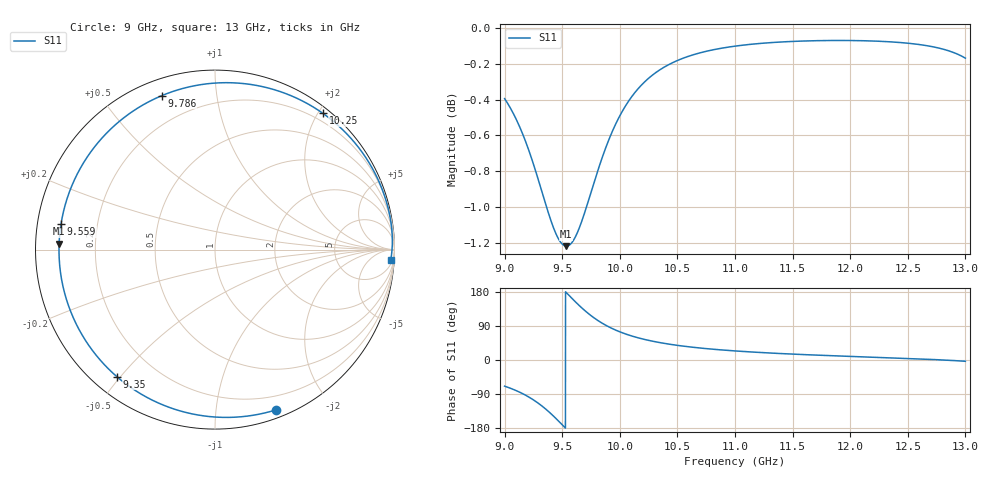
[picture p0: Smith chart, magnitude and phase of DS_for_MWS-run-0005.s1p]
! TOUCHSTONE file generated by CST DESIGN STUDIO
! Date and time: Wed Feb  5 13:45:11 2025
! Project name: C:\Work\MatlabApps\UnitCellOptimizationMatlab\CST\unitcell.cst
! Tree item: Tasks\Sweep1\SPara1\S-Parameters
! Header version: 2024
! Port assignment regex: !\s*Touchstone port\s*([0-9]+)\s*=\s*(CST MWS port|CST DES external port|CST DES block port)\s*(.+)\s* \(\"(.*)\"\)(\s*mode\s*([0-9]+))?.*
! Touchstone port assignment:
! Touchstone port 1 = CST DES external port 1 ("")
# GHz S MA R 50
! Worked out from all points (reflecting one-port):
!   4001 points, 9 GHz to 13 GHz, reference 50 ohm
!   lowest |S11| = -1.2 dB at 9.536 GHz (marker M1), VSWR 14.29, Z = 3.5 + j0.963 ohm
!   phase of S11 starts at -69 deg and turns -294 deg over the sweep
!   S11 on the Smith chart (normalised r, x): 9 GHz: 0.07, -1.45; 9.35 GHz: 0.07, -0.49; 9.559 GHz: 0.07, +0.08; 9.786 GHz: 0.07, +0.71; 10.25 GHz: 0.08, +2.07; 13 GHz: 10, -30
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9  0.9556 -69.0
9.098  0.9434 -80.4
9.206  0.9252 -97.0
9.281  0.9096 -111.6
9.35  0.8944 -127.7
9.391  0.8857 -138.5
9.433  0.8781 -150.5
9.467  0.8733 -160.7
9.5  0.8703 -170.9
9.536  0.8692 177.8
9.559  0.8696 170.6
9.614  0.8743 153.6
9.676  0.8844 135.8
9.73  0.8954 121.9
9.786  0.9075 109.1
9.831  0.9169 100.1
9.88  0.9263 91.4
10  0.9451 74.4
10.118  0.9582 62.0
10.253  0.9684 51.6
10.368  0.9744 44.8
10.5  0.9793 38.6
10.721  0.9846 30.9
11  0.9884 23.9
11.5  0.9914 15.5
12  0.9919 9.5
12.5  0.9902 4.0
13  0.9807 -3.4
